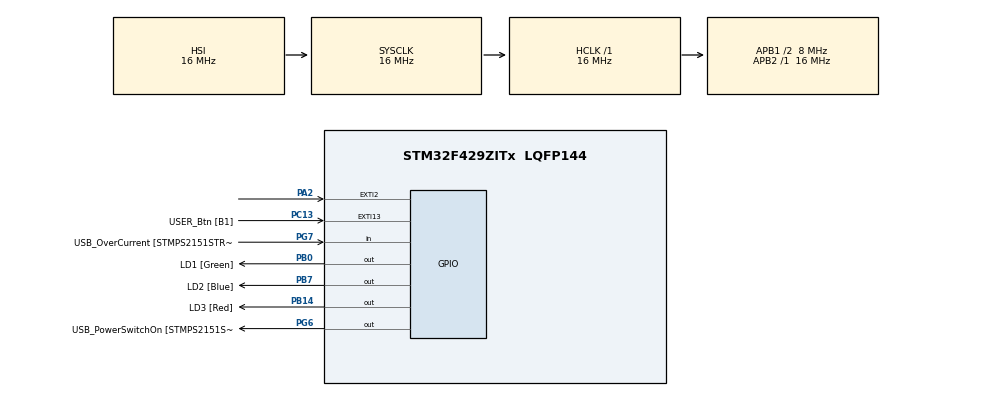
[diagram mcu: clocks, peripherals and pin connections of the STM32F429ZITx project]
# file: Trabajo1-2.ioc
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Mcu.Family=STM32F4
Mcu.Name=STM32F429ZITx
Mcu.Package=LQFP144
NVIC.PriorityGroup=NVIC_PRIORITYGROUP_4
PA13.Mode=Serial_Wire
PA13.Signal=SYS_JTMS-SWDIO
PA14.GPIO_Label=TCK
PA14.Mode=Serial_Wire
PA14.Signal=SYS_JTCK-SWCLK
PA2.Signal=GPXTI2
PB0.GPIO_Label=LD1 [Green]
PB0.Signal=GPIO_Output
PB14.GPIO_Label=LD3 [Red]
PB14.Signal=GPIO_Output
PB7.GPIO_Label=LD2 [Blue]
PB7.Signal=GPIO_Output
PC13.GPIO_Label=USER_Btn [B1]
PC13.Signal=GPXTI13
PC14/OSC32_IN.Signal=RCC_OSC32_IN
PC15/OSC32_OUT.Signal=RCC_OSC32_OUT
PD8.GPIO_Label=STLK_RX [STM32F103CBT6_PA3]
PD8.Signal=USART3_TX
PD9.GPIO_Label=STLK_TX [STM32F103CBT6_PA2]
PD9.Signal=USART3_RX
PG6.GPIO_Label=USB_PowerSwitchOn [STMPS2151STR_EN]
PG6.Signal=GPIO_Output
PG7.GPIO_Label=USB_OverCurrent [STMPS2151STR_FAULT]
PG7.Signal=GPIO_Input
PH0/OSC_IN.GPIO_Label=MCO [STM32F103CBT6_PA8]
PH0/OSC_IN.Signal=RCC_OSC_IN
PH1/OSC_OUT.Signal=RCC_OSC_OUT
ProjectManager.HeapSize=0x200
ProjectManager.StackSize=0x400
ProjectManager.TargetToolchain=STM32CubeIDE
RCC.48MHZClocksFreq_Value=48000000
RCC.AHBFreq_Value=16000000
RCC.APB1CLKDivider=RCC_HCLK_DIV2
RCC.APB1Freq_Value=8000000
RCC.APB1TimFreq_Value=16000000
RCC.APB2Freq_Value=16000000
RCC.APB2TimFreq_Value=16000000
RCC.CortexFreq_Value=16000000
RCC.HCLKFreq_Value=16000000
RCC.HSE_VALUE=8000000
RCC.HSI_VALUE=16000000
RCC.LSE_VALUE=32768
RCC.PLLMUL=RCC_PLL_MUL9
RCC.PRESCALERUSB=RCC_USBCLKSOURCE_PLL_DIV1_5
RCC.SYSCLKFreq_VALUE=16000000
RCC.SYSCLKSourceVirtual=RCC_SYSCLKSOURCE_PLLCLK
RCC.USBFreq_Value=48000000
RCC.VCOOutputFreq_Value=192000000
board=NUCLEO-F429ZI

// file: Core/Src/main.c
///* USER CODE BEGIN Header */
/**
                    *******************************************************
                    *******************************************************
                    *******************************************************
       ETH_REF_CLK--** PA 1 **                                   ** PB 0 **-- LED1[GREEN]
          ETH_MDIO--** PA 2 **        PLACA NUCLEO-F429ZI        ** PB 7 **-- LED2[BLUE]
        ETH_CRS_DV--** PA 7 **     PINES USADOS POR LA PLACA     ** PB14 **-- LED3[RED]
         ETH_TX_EN--** PB11 **                                   **********
          ETH_TXD0--** PB12 **                                   ** PC13 **-- USER_BUTTON
          ETH_TXD1--** PB13 **                                   *********
           ETH_MDC--** PC 1 **                                   ** PD 8 **-- UART3_RX
          ETH_RXD0--** PC 4 **                                   ** PD 9 **-- UART3_TX
          ETH_RXD1--** PC 5 **                                   **********
                    *******************************************************
                    **********                                   **********
        DS1307_SCL--** PB 8 **     USADOS POR LA APLICACION      ** PA15 **-- SD_SPI1_CS
        DS1307_SDA--** PB 9 **                                   ** PB 3 **-- SD_SPI1_SCK
                    **********                                   ** PB 5 **-- SD_SPI1_MOSI
                    **********                                   ** PA 6 **-- SD_SPI1_MISO
                    **********                                   **********
                    **********                                   **********
                    **********                                   **********
                    *******************************************************
                    *******************************************************
                    *******************************************************.

  */

/* USER CODE END Header */
#include "main.h"

/* USER CODE BEGIN PTD */

// definicion de tipo de datos usado para la MEF
typedef enum{
    BUTTON_DOWN,
    BUTTON_FALLING,
    BUTTON_UP,
    BUTTON_RAISING
} buttonMEF_t;

/* USER CODE END PTD */

/* USER CODE BEGIN PD */
#define		Delay_1				40 //frecuencia base para leds
#define		Delay_2				500 //frecuencia base para leds
#define		Delay_3				500//frecuencia base para leds
#define		Delay_Rebote		100//frecuencia base para leds
#define     Num_Leds		    3  // secuencia de 3 LEDS
#define     Num_Secuencias		5  // en el case :3 Cambiar secuencias.

#define     Time_Debounce_UsrBtn		40  // tiempo para eliminar ruido del UserButton

/* USER CODE END PD */

/* USER CODE BEGIN PV */

typedef uint32_t tick_t;

/* USER CODE END PV */

void SystemClock_Config(void);
/* USER CODE BEGIN PFP */
void ButtonMEF_init();		// inicializa MEF y resetea Flanco_press y Flanco_release
void ButtonMEF_update();	// lee puerto, actualiza MEF y las salidas son dos banderas Flanco_press y Flanco_release
bool_t UsrBtn_Pressed();			// la funcion devuelve estado del flag Flanco_press
bool_t UsrBtn_Released();		    // la funcion devuelve estado del flag Flanco_release

/* USER CODE END PFP */

/* USER CODE BEGIN 0 */

delay_t Timmer_UsrBtn;   	         // variable tipo timer publica para ser vista desde las funciones
buttonMEF_t EstadoActual;            // MEF-Apuntador
bool_t  Flanco_press, Flanco_release;// Banderas para mirar el estado de los eventos.

/* USER CODE END 0 */

int main(void)
{

  /* MCU Configuration--------------------------------------------------------*/

  /* Reset of all peripherals, Initializes the Flash interface and the Systick. */
  HAL_Init();

  /* USER CODE BEGIN Init */
  BSP_LED_Init(LED1);  // inicializa los puestos fisicos cableados de la board
  BSP_LED_Init(LED2);  // BSP -> Board Support Package
  BSP_LED_Init(LED3);
  BSP_PB_Init(BUTTON_USER, BUTTON_MODE_GPIO); //inicializa boton BSP en modo GPIO

  delay_t Timmer_Leds;   	// variable de tipo estructura delay_t
  SysDelayInit( & Timmer_Leds , Delay_1 );	// inicializa el timmer para el led-blink

  /* USER CODE END Init */

  /* Configure the system clock */
  SystemClock_Config();

  /* Initialize all configured peripherals */
  /* USER CODE BEGIN 2 */
   ButtonMEF_init();
  /* USER CODE END 2 */

  /* Infinite loop */
  while (1)
  {

	  //el led que hace Blink de 40ms, durante la ejecucion de la MEF ideantifica que no se genera ninguna
	  //demora o salto de secuencia sobre el LED, independiente del Boton.
	  // buen ejemplo apra identificar los retardos no bloqueantes y el anti-rebote
	  // Buen dato relacionado a que modularizando el codigo se hace mas simple en MAIN.

	  ButtonMEF_update();  // pregunta el button y actualiza estado de flancos

	  if (SysDelayRead(& Timmer_Leds))  //adicional a lo solicitado, solo parpadea un led.
		  BSP_LED_Toggle(LED2);

	  if (UsrBtn_Pressed())   // pregunta por un evento de presion de boton
		  BSP_LED_Toggle(LED1);

	  if (UsrBtn_Released())  // pregunta por un evento de soltado de boton
		  BSP_LED_Toggle(LED3);

  }
  /* USER CODE END 3 */
}

void ButtonMEF_init()
{
	EstadoActual = BUTTON_UP;
	Flanco_press = false;
	Flanco_release = false;
}

void ButtonMEF_update()
{
	switch (EstadoActual)
	{
		case BUTTON_UP :
		{
			if (BSP_PB_GetState(BUTTON_USER))   //identifica que el boton se presiono, activa delay
			{
				EstadoActual = BUTTON_FALLING;
				SysDelayInit( & Timmer_UsrBtn, Time_Debounce_UsrBtn );
			}
			break;
		}
		case BUTTON_FALLING :
		{
			  if (SysDelayRead(& Timmer_UsrBtn))
			  {
				  if(BSP_PB_GetState(BUTTON_USER))  // al finalizar retardo re-confirma que el boton fue presionado
				  {
					  EstadoActual = BUTTON_DOWN;  // si se mantiene activa varible Flanco_press
					  Flanco_press= true;
				  }
				  else
					  EstadoActual = BUTTON_UP;	// ruido detectado, resetea a esperar pulsacion
			  }
			  break;

		}
		case BUTTON_DOWN :
		{
			if (!BSP_PB_GetState(BUTTON_USER))   // boton esperando que sea soltado
			{
				EstadoActual = BUTTON_RAISING;           // al soltar inicia contador para eliminar falso positivo
				SysDelayInit( & Timmer_UsrBtn, Time_Debounce_UsrBtn );
			}
			break;

		}
		case BUTTON_RAISING :
		{
			  if (SysDelayRead(& Timmer_UsrBtn))
			  {
				  if(!BSP_PB_GetState(BUTTON_USER))   //despues de retardo re-confirma boton suelto
				  {
					  EstadoActual = BUTTON_UP;  // si se mantiene suelto a activa Flanco_release
					  Flanco_release= true;
				  }
				  else
					  EstadoActual = BUTTON_DOWN;	// ruido detectado, resetea a esperar soltado
			  }
			  break;
		}
		default :
			EstadoActual = BUTTON_UP;   // asegura que va a caer en el primer estado que inicia MEF
		break;
	}

}

bool_t UsrBtn_Pressed()			// para no escribir sobre el puerto en la funcion esta pregunta por el flanco
{
bool_t resp=false;
if (Flanco_press)
	resp= true;
Flanco_press = false;
return resp;					// y devuelve el valor, al mismo tiempo que lo resetea para siguiente lectura.
}

bool_t UsrBtn_Released()		// para no escribir sobre el puerto en la funcion esta pregunta por el flanco
{
	bool_t resp=false;
	if (Flanco_release)
		resp= true;
	Flanco_release = false;
	return resp;				// y devuelve el valor, al mismo tiempo que lo resetea para siguiente lectura.

}

void SystemClock_Config(void)
{
  RCC_OscInitTypeDef RCC_OscInitStruct = {0};
  RCC_ClkInitTypeDef RCC_ClkInitStruct = {0};

  /** Configure the main internal regulator output voltage
  */
  __HAL_RCC_PWR_CLK_ENABLE();
  __HAL_PWR_VOLTAGESCALING_CONFIG(PWR_REGULATOR_VOLTAGE_SCALE3);

  /** Initializes the RCC Oscillators according to the specified parameters
  * in the RCC_OscInitTypeDef structure.
  */
  RCC_OscInitStruct.OscillatorType = RCC_OSCILLATORTYPE_HSI;
  RCC_OscInitStruct.HSIState = RCC_HSI_ON;
  RCC_OscInitStruct.HSICalibrationValue = RCC_HSICALIBRATION_DEFAULT;
  RCC_OscInitStruct.PLL.PLLState = RCC_PLL_NONE;
  if (HAL_RCC_OscConfig(&RCC_OscInitStruct) != HAL_OK)
  {
    Error_Handler();
  }

  /** Initializes the CPU, AHB and APB buses clocks
  */
  RCC_ClkInitStruct.ClockType = RCC_CLOCKTYPE_HCLK|RCC_CLOCKTYPE_SYSCLK
                              |RCC_CLOCKTYPE_PCLK1|RCC_CLOCKTYPE_PCLK2;
  RCC_ClkInitStruct.SYSCLKSource = RCC_SYSCLKSOURCE_HSI;
  RCC_ClkInitStruct.AHBCLKDivider = RCC_SYSCLK_DIV1;
  RCC_ClkInitStruct.APB1CLKDivider = RCC_HCLK_DIV2;
  RCC_ClkInitStruct.APB2CLKDivider = RCC_HCLK_DIV1;

  if (HAL_RCC_ClockConfig(&RCC_ClkInitStruct, FLASH_LATENCY_0) != HAL_OK)
  {
    Error_Handler();
  }
}

void Error_Handler(void)
{
  __disable_irq();
  while (1)
  {
  }
}
